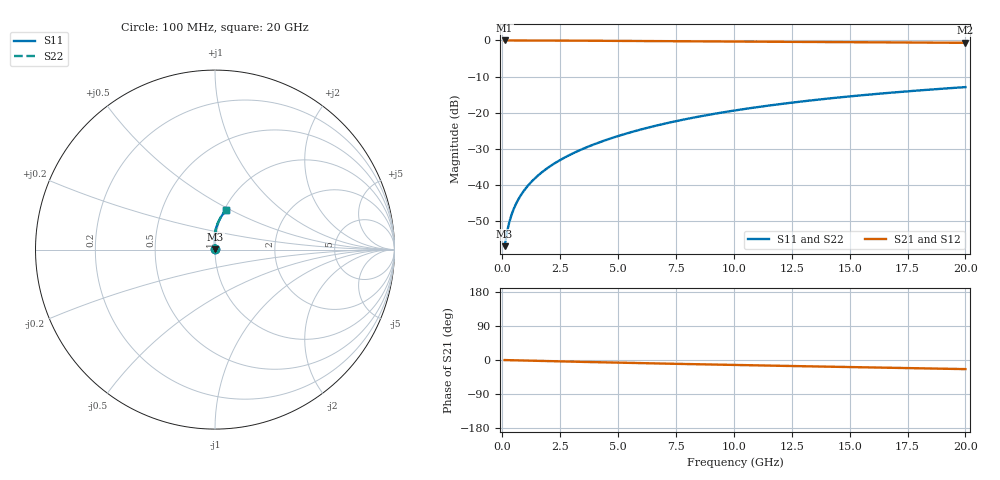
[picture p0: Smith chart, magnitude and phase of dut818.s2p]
! Touchstone file exported from HFSS 2024.1.0
!  File:  C:/UserFiles/LocalFiles/RDL_TSV_Batchsim/temp_RDL_bottom_818_1779862621.aedt
!  Generated:  02:19:31 PM May 27, 2026
!  Design:  RDL_bottom
!  Project:  temp_RDL_bottom_818_1779862621
!  Setup:  Setup1
!  Solution:  Sweep
! Variables:
!  dtsv = 10.80580581um
!  hbump = 3um
!  htsv = 93.2um
!  ldown = 319.76um
!  lrdl = 100um
!  p = 40
!  p1 = 58.22um
!  rhole = 1um
!  t = 450um
!  tdown = 4.56um
!  trdl = 3.915915916um
!  wdown = 28.9um
!  wrdl = 20um
# GHz S MA R 50.000000
! Terminal data exported
! Port[1] = RDL1_T1
! Port[2] = RDL1_T2
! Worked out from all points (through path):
!   200 points, 100 MHz to 20 GHz, reference 50 ohm
!   highest |S21| = -0.01 dB at 100 MHz (marker M1); lowest = -0.7 dB at 20 GHz (marker M2)
!   group delay of S21, straight-line fit = 3.28 ps
!   lowest |S11| = -56.8 dB at 100 MHz (marker M3), VSWR 1.00, Z = 50.1 + j0.0978 ohm
!   |S11| at or under -10 dB: start of sweep to end of sweep
!   |S22| runs from -56.8 to -12.9 dB; largest |S21 - S12| = 5.1e-15
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0.1  0.001442 42.6  0.9989 -0.2  0.9989 -0.2  0.001442 42.6
! Gamma 0 0 0 0
! Port Impedance 50 0 50 0
0.2  0.002225 59.9  0.9988 -0.3  0.9988 -0.3  0.002225 59.9
0.3  0.003075 67.5  0.9987 -0.5  0.9987 -0.5  0.003075 67.5
0.4  0.003925 71.7  0.9986 -0.6  0.9986 -0.6  0.003925 71.7
0.5  0.004766 74.5  0.9985 -0.7  0.9985 -0.7  0.004767 74.6
0.7  0.006438 78.4  0.9983 -1.0  0.9983 -1.0  0.006438 78.4
1  0.008962 82.1  0.998 -1.5  0.998 -1.5  0.008962 82.1
1.4  0.0124 85.2  0.9973 -2.1  0.9973 -2.1  0.0124 85.2
1.7  0.01503 86.8  0.9967 -2.5  0.9967 -2.5  0.01503 86.8
2  0.01772 88.1  0.9961 -2.9  0.9961 -2.9  0.01772 88.1
2.7  0.0242 90.1  0.9941 -3.9  0.9941 -3.9  0.02421 90.1
3.5  0.03202 91.5  0.9914 -5.0  0.9914 -5.0  0.03202 91.5
4.2  0.03922 92.2  0.9888 -6.0  0.9888 -6.0  0.03922 92.2
5  0.04782 92.4  0.9856 -7.0  0.9856 -7.0  0.04783 92.4
5.9  0.05793 92.3  0.9818 -8.2  0.9818 -8.2  0.05794 92.3
6.8  0.06841 91.8  0.9779 -9.3  0.9779 -9.3  0.06842 91.8
8.4  0.08768 90.3  0.9712 -11.2  0.9712 -11.2  0.08769 90.3
10.1  0.1086 88.2  0.9642 -13.2  0.9642 -13.2  0.1086 88.3
11.7  0.1284 86.1  0.958 -15.0  0.958 -15.0  0.1284 86.1
13.4  0.1493 83.7  0.9515 -16.9  0.9515 -16.9  0.1493 83.7
16.7  0.1889 79.1  0.9391 -20.5  0.9391 -20.5  0.1889 79.1
20  0.2267 74.7  0.9268 -24.1  0.9268 -24.1  0.2267 74.7
